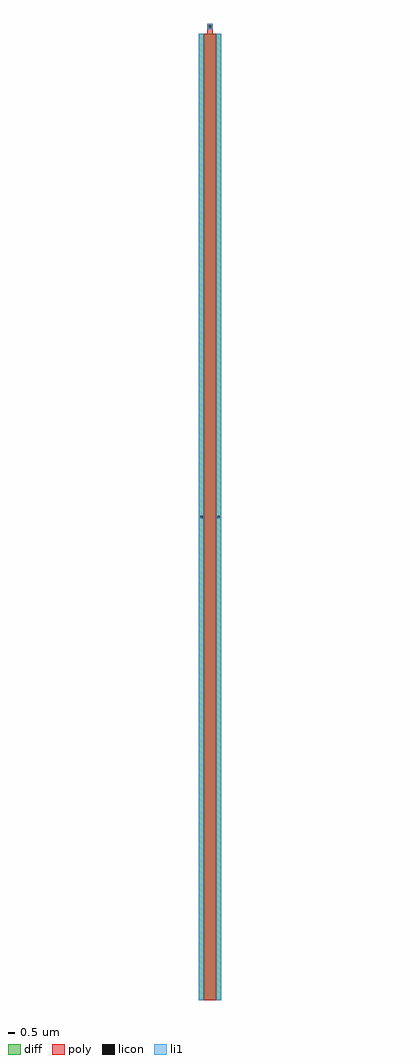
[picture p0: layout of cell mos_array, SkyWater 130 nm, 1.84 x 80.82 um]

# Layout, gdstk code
import gdstk
lib = gdstk.Library(unit=1e-6, precision=1e-09)
def R(c, l, rs):  # rectangles x0, y0, x1, y1
    for r in rs: c.add(gdstk.rectangle(r[:2], r[2:], *l))
diff = (65, 20)
poly = (66, 20)
licon = (66, 44)
li1 = (67, 20)

mos_array = lib.new_cell('mos_array')
R(mos_array, diff, [(0,0,1.84,80)])
R(mos_array, poly, [(0.42,0,1.42,80), (0.71,80,1.13,80.82)])
R(mos_array, licon, [(0.1,39.89,0.32,40.11), (1.52,39.89,1.74,40.11), (0.81,80.5,1.03,80.72)])
R(mos_array, li1, [(0,0,0.42,80), (1.42,0,1.84,80), (0.71,80.4,1.13,80.82)])

lib.write_gds('mos_array.gds')
